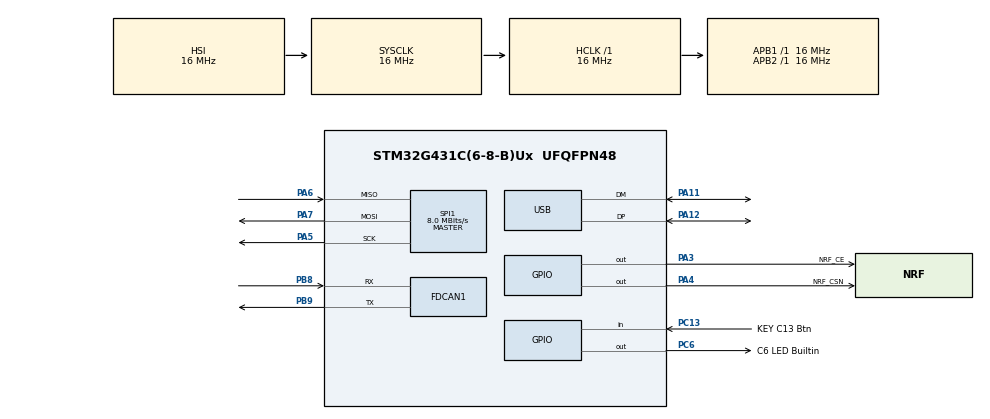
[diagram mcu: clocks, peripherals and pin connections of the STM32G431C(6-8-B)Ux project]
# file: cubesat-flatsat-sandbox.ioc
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ADC1.Channel-0\#ChannelRegularConversion=ADC_CHANNEL_TEMPSENSOR_ADC1
ADC1.NbrOfConversionFlag=1
ADC1.OffsetNumber-0\#ChannelRegularConversion=ADC_OFFSET_NONE
ADC1.Rank-0\#ChannelRegularConversion=1
ADC1.SamplingTime-0\#ChannelRegularConversion=ADC_SAMPLETIME_247CYCLES_5
ADC1.master=1
FDCAN1.AutoRetransmission=ENABLE
FDCAN1.CalculateBaudRateNominal=500000
FDCAN1.CalculateTimeBitNominal=2000
FDCAN1.CalculateTimeQuantumNominal=125.0
FDCAN1.NominalPrescaler=2
FDCAN1.NominalTimeSeg1=12
FDCAN1.NominalTimeSeg2=3
FDCAN1.StdFiltersNbr=1
FREERTOS.Tasks01=defaultTask,24,256,StartDefaultTask,Default,NULL,Dynamic,NULL,NULL
FREERTOS.configTOTAL_HEAP_SIZE=8192
Mcu.Family=STM32G4
Mcu.Name=STM32G431C(6-8-B)Ux
Mcu.Package=UFQFPN48
NVIC.FDCAN1_IT0_IRQn=true\:5\:0\:false\:false\:true\:true\:true\:true\:true
NVIC.PriorityGroup=NVIC_PRIORITYGROUP_4
NVIC.TIM6_DAC_IRQn=true\:15\:0\:false\:false\:true\:false\:false\:true\:true
NVIC.TimeBase=TIM6_DAC_IRQn
NVIC.TimeBaseIP=TIM6
NVIC.USB_LP_IRQn=true\:5\:0\:false\:false\:true\:true\:false\:true\:true
PA11.Mode=Device
PA11.Signal=USB_DM
PA12.Mode=Device
PA12.Signal=USB_DP
PA13.Mode=Serial_Wire
PA13.Signal=SYS_JTMS-SWDIO
PA14.Mode=Serial_Wire
PA14.Signal=SYS_JTCK-SWCLK
PA3.GPIO_Label=NRF_CE
PA3.GPIO_Speed=GPIO_SPEED_FREQ_HIGH
PA3.Signal=GPIO_Output
PA4.GPIO_Label=NRF_CSN
PA4.GPIO_Speed=GPIO_SPEED_FREQ_HIGH
PA4.PinState=GPIO_PIN_SET
PA4.Signal=GPIO_Output
PA5.Mode=Full_Duplex_Master
PA5.Signal=SPI1_SCK
PA6.Mode=Full_Duplex_Master
PA6.Signal=SPI1_MISO
PA7.Mode=Full_Duplex_Master
PA7.Signal=SPI1_MOSI
PB8-BOOT0.Mode=FDCAN_Activate
PB8-BOOT0.Signal=FDCAN1_RX
PB9.Mode=FDCAN_Activate
PB9.Signal=FDCAN1_TX
PC13.GPIO_Label=KEY C13 Btn
PC13.GPIO_PuPd=GPIO_PULLDOWN
PC13.Signal=GPIO_Input
PC14-OSC32_IN.Mode=LSE-External-Oscillator
PC14-OSC32_IN.Signal=RCC_OSC32_IN
PC15-OSC32_OUT.Mode=LSE-External-Oscillator
PC15-OSC32_OUT.Signal=RCC_OSC32_OUT
PC6.GPIO_Label=C6 LED Builtin
PC6.Signal=GPIO_Output
PF0-OSC_IN.Mode=HSE-External-Oscillator
PF0-OSC_IN.Signal=RCC_OSC_IN
PF1-OSC_OUT.Mode=HSE-External-Oscillator
PF1-OSC_OUT.Signal=RCC_OSC_OUT
ProjectManager.HeapSize=0x200
ProjectManager.StackSize=0x400
ProjectManager.TargetToolchain=CMake
RCC.AHBFreq_Value=16000000
RCC.APB1Freq_Value=16000000
RCC.APB1TimFreq_Value=16000000
RCC.APB2Freq_Value=16000000
RCC.APB2TimFreq_Value=16000000
RCC.CortexFreq_Value=16000000
RCC.EXTERNAL_CLOCK_VALUE=12288000
RCC.HCLKFreq_Value=16000000
RCC.HSE_VALUE=8000000
RCC.HSI48_VALUE=48000000
RCC.HSI_VALUE=16000000
RCC.PLLN=12
RCC.PLLQ=RCC_PLLQ_DIV4
RCC.SYSCLKFreq_VALUE=16000000
RCC.USBFreq_Value=48000000
RCC.VCOOutputFreq_Value=192000000
SPI1.CalculateBaudRate=8.0 MBits/s
SPI1.DataSize=SPI_DATASIZE_8BIT
SPI1.Direction=SPI_DIRECTION_2LINES
SPI1.Mode=SPI_MODE_MASTER
SPI1.VirtualType=VM_MASTER
USB_DEVICE.CLASS_NAME_FS=CDC
USB_DEVICE.VirtualMode=Cdc
USB_DEVICE.VirtualModeFS=Cdc_FS
VP_ADC1_TempSens_Input.Mode=IN-TempSens
VP_FREERTOS_VS_CMSIS_V2.Mode=CMSIS_V2
VP_SYS_VS_DBSignals.Mode=DisableDeadBatterySignals
VP_SYS_VS_tim6.Mode=TIM6
VP_USB_DEVICE_VS_USB_DEVICE_CDC_FS.Mode=CDC_FS
board=custom

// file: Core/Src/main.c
/* USER CODE BEGIN Header */
/**
  ******************************************************************************
  * @file           : main.c
  * @brief          : Main program body
  ******************************************************************************
  * @attention
  *
  * Copyright (c) 2026 STMicroelectronics.
  * All rights reserved.
  *
  * This software is licensed under terms that can be found in the LICENSE file
  * in the root directory of this software component.
  * If no LICENSE file comes with this software, it is provided AS-IS.
  *
  ******************************************************************************
  */
/* USER CODE END Header */
#include "main.h"
#include "cmsis_os.h"
#include "usb_device.h"

/* USER CODE BEGIN Includes */
#include "usbd_cdc_if.h"
#include "nrf24l01p.h"
#include <string.h>
#include <stdio.h>
/* USER CODE END Includes */

/* USER CODE BEGIN PD */

// CAN message IDs
#define CAN_ID_CDH_CMD         0x100  // Commands from CDH to EPS (button, etc.)
#define CAN_ID_CDH_STATUS_REQ  0x101  // CDH asks EPS for status
#define CAN_ID_EPS_CMD         0x200  // Commands from EPS to CDH (button, etc.)
#define CAN_ID_EPS_TELEM       0x201  // Telemetry from EPS (temperature, etc.)
#define CAN_ID_EPS_STATUS_RSP  0x202  // EPS responds with LED state

// Determine TX ID based on node type
#ifdef NODE_CDH
  #define CAN_TX_ID  CAN_ID_CDH_CMD
#endif

#ifdef NODE_EPS
  #define CAN_TX_ID  CAN_ID_EPS_CMD
#endif

// Sanity check
#if !defined(NODE_CDH) && !defined(NODE_EPS)
  #error "Define NODE_CDH or NODE_EPS in CMake"
#endif

// NRF24 settings (must match Raspberry Pi)
#define NRF_CHANNEL     2476  // RF channel in MHz (2400 + 76)
#define NRF_DATA_RATE   _2Mbps

// NRF24 payload message types (byte 0) - CDH to ground
#define NRF_MSG_BUTTON  0x01
#define NRF_MSG_TEMP    0x02

// Ground command types (byte 0) - ground to CDH
#define GND_CMD_TOGGLE_CDH_LED  0x01
#define GND_CMD_TOGGLE_EPS_LED  0x02
#define GND_CMD_STATUS_REQ      0x03

// CDH to ground response types
#define NRF_MSG_STATUS          0x03

// EPS alive timeout (ms)
#define EPS_ALIVE_TIMEOUT       5000

/* USER CODE END PD */

ADC_HandleTypeDef hadc1;

FDCAN_HandleTypeDef hfdcan1;

SPI_HandleTypeDef hspi1;

/* Definitions for defaultTask */
osThreadId_t defaultTaskHandle;
const osThreadAttr_t defaultTask_attributes = {
  .name = "defaultTask",
  .priority = (osPriority_t) osPriorityNormal,
  .stack_size = 256 * 4
};
/* USER CODE BEGIN PV */
FDCAN_RxHeaderTypeDef rxHeader;
uint8_t rxData[8];
uint8_t prev_button_state = 0;
volatile uint8_t can_rx_flag = 0;
volatile uint8_t can_rx_led_state = 0;
volatile uint8_t can_rx_telem_flag = 0;
volatile int16_t can_rx_temperature = 0;  // Temperature in tenths of °C
volatile uint8_t last_eps_led_cmd = 0;    // Last LED state sent to EPS
volatile uint32_t last_eps_can_tick = 0;  // Tick of last CAN message from EPS
#ifdef NODE_CDH
volatile uint8_t eps_status_flag = 0;     // EPS status response received
volatile uint8_t eps_status_led = 0;      // EPS LED state from status response
#endif
#ifdef NODE_EPS
volatile uint8_t eps_status_req_flag = 0; // CDH requested our status
#endif

// CAN task
osThreadId_t canTaskHandle;
const osThreadAttr_t canTask_attributes = {
  .name = "canTask",
  .priority = (osPriority_t) osPriorityAboveNormal,
  .stack_size = 256 * 4
};

#ifdef NODE_CDH
// NRF TX queue: CAN task -> Radio task
osMessageQueueId_t nrfTxQueueHandle;

// Radio task
osThreadId_t radioTaskHandle;
const osThreadAttr_t radioTask_attributes = {
  .name = "radioTask",
  .priority = (osPriority_t) osPriorityNormal,
  .stack_size = 256 * 4
};
#endif
/* USER CODE END PV */

void SystemClock_Config(void);
static void MX_GPIO_Init(void);
static void MX_FDCAN1_Init(void);
static void MX_ADC1_Init(void);
static void MX_SPI1_Init(void);
void StartDefaultTask(void *argument);

/* USER CODE BEGIN PFP */
void StartCanTask(void *argument);
#ifdef NODE_CDH
void StartRadioTask(void *argument);
#endif
/* USER CODE END PFP */

/* USER CODE BEGIN 0 */

static void can_tx_header_init(FDCAN_TxHeaderTypeDef *hdr, uint32_t id, uint32_t dlc)
{
  hdr->Identifier = id;
  hdr->IdType = FDCAN_STANDARD_ID;
  hdr->TxFrameType = FDCAN_DATA_FRAME;
  hdr->DataLength = dlc;
  hdr->ErrorStateIndicator = FDCAN_ESI_ACTIVE;
  hdr->BitRateSwitch = FDCAN_BRS_OFF;
  hdr->FDFormat = FDCAN_CLASSIC_CAN;
  hdr->TxEventFifoControl = FDCAN_NO_TX_EVENTS;
  hdr->MessageMarker = 0;
}

#ifdef NODE_CDH
// Send payload over NRF24, returns 1 on success, 0 on failure
static uint8_t nrf24_send_and_listen(uint8_t *payload)
{
  uint8_t success = 0;

  // Switch to TX mode
  nrf24l01p_power_down();
  nrf24l01p_ptx_mode();
  nrf24l01p_power_up();
  osDelay(2);  // 1.5ms power-up delay

  nrf24l01p_tx_transmit(payload);

  // Poll for TX_DS (success) or MAX_RT (failure)
  for (int i = 0; i < 10; i++)
  {
    osDelay(1);
    uint8_t status = nrf24l01p_get_status();
    if (status & 0x20)  // TX_DS: transmit succeeded
    {
      nrf24l01p_clear_tx_ds();
      success = 1;
      break;
    }
    if (status & 0x10)  // MAX_RT: max retransmits, no ACK
    {
      nrf24l01p_clear_max_rt();
      nrf24l01p_flush_tx_fifo();
      break;
    }
  }

  // Switch back to RX mode
  nrf24l01p_power_down();
  nrf24l01p_prx_mode();
  nrf24l01p_power_up();
  osDelay(2);

  return success;
}
#endif

/* USER CODE END 0 */

int main(void)
{

  /* MCU Configuration--------------------------------------------------------*/

  /* Reset of all peripherals, Initializes the Flash interface and the Systick. */
  HAL_Init();

  /* Configure the system clock */
  SystemClock_Config();

  /* Initialize all configured peripherals */
  MX_GPIO_Init();
  MX_FDCAN1_Init();
  MX_ADC1_Init();
  MX_SPI1_Init();
  /* USER CODE BEGIN 2 */

  // Calibrate ADC for accurate temperature readings
  HAL_ADCEx_Calibration_Start(&hadc1, ADC_SINGLE_ENDED);

  // Configure RX filter
  FDCAN_FilterTypeDef filterConfig;
  filterConfig.IdType = FDCAN_STANDARD_ID;
  filterConfig.FilterIndex = 0;
  filterConfig.FilterType = FDCAN_FILTER_MASK;
  filterConfig.FilterConfig = FDCAN_FILTER_TO_RXFIFO0;
#ifdef NODE_CDH
  // Accept 0x200-0x203 (mask 0x7FC ignores bits 0-1)
  filterConfig.FilterID1 = 0x200;
  filterConfig.FilterID2 = 0x7FC;
#endif
#ifdef NODE_EPS
  // Accept 0x100-0x101 (mask 0x7FE ignores bit 0)
  filterConfig.FilterID1 = 0x100;
  filterConfig.FilterID2 = 0x7FE;
#endif
  if (HAL_FDCAN_ConfigFilter(&hfdcan1, &filterConfig) != HAL_OK)
  {
    Error_Handler();
  }

  // Enable RX FIFO 0 new message interrupt
  if (HAL_FDCAN_ActivateNotification(&hfdcan1, FDCAN_IT_RX_FIFO0_NEW_MESSAGE, 0) != HAL_OK)
  {
    Error_Handler();
  }

  // Start FDCAN
  if (HAL_FDCAN_Start(&hfdcan1) != HAL_OK)
  {
    Error_Handler();
  }

  /* USER CODE END 2 */

  /* Init scheduler */
  osKernelInitialize();

  /* USER CODE BEGIN RTOS_QUEUES */
#ifdef NODE_CDH
  nrfTxQueueHandle = osMessageQueueNew(4, NRF24L01P_PAYLOAD_LENGTH, NULL);
#endif
  /* USER CODE END RTOS_QUEUES */

  /* Create the thread(s) */
  /* creation of defaultTask */
  defaultTaskHandle = osThreadNew(StartDefaultTask, NULL, &defaultTask_attributes);

  /* USER CODE BEGIN RTOS_THREADS */
  canTaskHandle = osThreadNew(StartCanTask, NULL, &canTask_attributes);
#ifdef NODE_CDH
  radioTaskHandle = osThreadNew(StartRadioTask, NULL, &radioTask_attributes);
#endif
  /* USER CODE END RTOS_THREADS */

  /* Start scheduler */
  osKernelStart();

  /* We should never get here as control is now taken by the scheduler */

  /* Infinite loop */
  while (1)
  {

  }
}

void SystemClock_Config(void)
{
  RCC_OscInitTypeDef RCC_OscInitStruct = {0};
  RCC_ClkInitTypeDef RCC_ClkInitStruct = {0};

  /** Configure the main internal regulator output voltage
  */
  HAL_PWREx_ControlVoltageScaling(PWR_REGULATOR_VOLTAGE_SCALE1);

  /** Initializes the RCC Oscillators according to the specified parameters
  * in the RCC_OscInitTypeDef structure.
  */
  RCC_OscInitStruct.OscillatorType = RCC_OSCILLATORTYPE_HSI;
  RCC_OscInitStruct.HSIState = RCC_HSI_ON;
  RCC_OscInitStruct.HSICalibrationValue = RCC_HSICALIBRATION_DEFAULT;
  RCC_OscInitStruct.PLL.PLLState = RCC_PLL_ON;
  RCC_OscInitStruct.PLL.PLLSource = RCC_PLLSOURCE_HSI;
  RCC_OscInitStruct.PLL.PLLM = RCC_PLLM_DIV1;
  RCC_OscInitStruct.PLL.PLLN = 12;
  RCC_OscInitStruct.PLL.PLLP = RCC_PLLP_DIV2;
  RCC_OscInitStruct.PLL.PLLQ = RCC_PLLQ_DIV4;
  RCC_OscInitStruct.PLL.PLLR = RCC_PLLR_DIV2;
  if (HAL_RCC_OscConfig(&RCC_OscInitStruct) != HAL_OK)
  {
    Error_Handler();
  }

  /** Initializes the CPU, AHB and APB buses clocks
  */
  RCC_ClkInitStruct.ClockType = RCC_CLOCKTYPE_HCLK|RCC_CLOCKTYPE_SYSCLK
                              |RCC_CLOCKTYPE_PCLK1|RCC_CLOCKTYPE_PCLK2;
  RCC_ClkInitStruct.SYSCLKSource = RCC_SYSCLKSOURCE_HSI;
  RCC_ClkInitStruct.AHBCLKDivider = RCC_SYSCLK_DIV1;
  RCC_ClkInitStruct.APB1CLKDivider = RCC_HCLK_DIV1;
  RCC_ClkInitStruct.APB2CLKDivider = RCC_HCLK_DIV1;

  if (HAL_RCC_ClockConfig(&RCC_ClkInitStruct, FLASH_LATENCY_0) != HAL_OK)
  {
    Error_Handler();
  }
}

static void MX_ADC1_Init(void)
{

  ADC_MultiModeTypeDef multimode = {0};
  ADC_ChannelConfTypeDef sConfig = {0};

  /** Common config
  */
  hadc1.Instance = ADC1;
  hadc1.Init.ClockPrescaler = ADC_CLOCK_SYNC_PCLK_DIV2;
  hadc1.Init.Resolution = ADC_RESOLUTION_12B;
  hadc1.Init.DataAlign = ADC_DATAALIGN_RIGHT;
  hadc1.Init.GainCompensation = 0;
  hadc1.Init.ScanConvMode = ADC_SCAN_DISABLE;
  hadc1.Init.EOCSelection = ADC_EOC_SINGLE_CONV;
  hadc1.Init.LowPowerAutoWait = DISABLE;
  hadc1.Init.ContinuousConvMode = DISABLE;
  hadc1.Init.NbrOfConversion = 1;
  hadc1.Init.DiscontinuousConvMode = DISABLE;
  hadc1.Init.ExternalTrigConv = ADC_SOFTWARE_START;
  hadc1.Init.ExternalTrigConvEdge = ADC_EXTERNALTRIGCONVEDGE_NONE;
  hadc1.Init.DMAContinuousRequests = DISABLE;
  hadc1.Init.Overrun = ADC_OVR_DATA_PRESERVED;
  hadc1.Init.OversamplingMode = DISABLE;
  if (HAL_ADC_Init(&hadc1) != HAL_OK)
  {
    Error_Handler();
  }

  /** Configure the ADC multi-mode
  */
  multimode.Mode = ADC_MODE_INDEPENDENT;
  if (HAL_ADCEx_MultiModeConfigChannel(&hadc1, &multimode) != HAL_OK)
  {
    Error_Handler();
  }

  /** Configure Regular Channel
  */
  sConfig.Channel = ADC_CHANNEL_TEMPSENSOR_ADC1;
  sConfig.Rank = ADC_REGULAR_RANK_1;
  sConfig.SamplingTime = ADC_SAMPLETIME_247CYCLES_5;
  sConfig.SingleDiff = ADC_SINGLE_ENDED;
  sConfig.OffsetNumber = ADC_OFFSET_NONE;
  sConfig.Offset = 0;
  if (HAL_ADC_ConfigChannel(&hadc1, &sConfig) != HAL_OK)
  {
    Error_Handler();
  }

}

static void MX_FDCAN1_Init(void)
{

  hfdcan1.Instance = FDCAN1;
  hfdcan1.Init.ClockDivider = FDCAN_CLOCK_DIV1;
  hfdcan1.Init.FrameFormat = FDCAN_FRAME_CLASSIC;
  hfdcan1.Init.Mode = FDCAN_MODE_NORMAL;
  hfdcan1.Init.AutoRetransmission = ENABLE;
  hfdcan1.Init.TransmitPause = DISABLE;
  hfdcan1.Init.ProtocolException = DISABLE;
  hfdcan1.Init.NominalPrescaler = 2;
  hfdcan1.Init.NominalSyncJumpWidth = 1;
  hfdcan1.Init.NominalTimeSeg1 = 12;
  hfdcan1.Init.NominalTimeSeg2 = 3;
  hfdcan1.Init.DataPrescaler = 1;
  hfdcan1.Init.DataSyncJumpWidth = 1;
  hfdcan1.Init.DataTimeSeg1 = 1;
  hfdcan1.Init.DataTimeSeg2 = 1;
  hfdcan1.Init.StdFiltersNbr = 1;
  hfdcan1.Init.ExtFiltersNbr = 0;
  hfdcan1.Init.TxFifoQueueMode = FDCAN_TX_FIFO_OPERATION;
  if (HAL_FDCAN_Init(&hfdcan1) != HAL_OK)
  {
    Error_Handler();
  }

}

static void MX_SPI1_Init(void)
{

  /* SPI1 parameter configuration*/
  hspi1.Instance = SPI1;
  hspi1.Init.Mode = SPI_MODE_MASTER;
  hspi1.Init.Direction = SPI_DIRECTION_2LINES;
  hspi1.Init.DataSize = SPI_DATASIZE_8BIT;
  hspi1.Init.CLKPolarity = SPI_POLARITY_LOW;
  hspi1.Init.CLKPhase = SPI_PHASE_1EDGE;
  hspi1.Init.NSS = SPI_NSS_SOFT;
  hspi1.Init.BaudRatePrescaler = SPI_BAUDRATEPRESCALER_2;
  hspi1.Init.FirstBit = SPI_FIRSTBIT_MSB;
  hspi1.Init.TIMode = SPI_TIMODE_DISABLE;
  hspi1.Init.CRCCalculation = SPI_CRCCALCULATION_DISABLE;
  hspi1.Init.CRCPolynomial = 7;
  hspi1.Init.CRCLength = SPI_CRC_LENGTH_DATASIZE;
  hspi1.Init.NSSPMode = SPI_NSS_PULSE_ENABLE;
  if (HAL_SPI_Init(&hspi1) != HAL_OK)
  {
    Error_Handler();
  }

}

static void MX_GPIO_Init(void)
{
  GPIO_InitTypeDef GPIO_InitStruct = {0};

  /* GPIO Ports Clock Enable */
  __HAL_RCC_GPIOC_CLK_ENABLE();
  __HAL_RCC_GPIOF_CLK_ENABLE();
  __HAL_RCC_GPIOA_CLK_ENABLE();
  __HAL_RCC_GPIOB_CLK_ENABLE();

  /*Configure GPIO pin Output Level */
  HAL_GPIO_WritePin(NRF_CE_GPIO_Port, NRF_CE_Pin, GPIO_PIN_RESET);

  /*Configure GPIO pin Output Level */
  HAL_GPIO_WritePin(NRF_CSN_GPIO_Port, NRF_CSN_Pin, GPIO_PIN_SET);

  /*Configure GPIO pin Output Level */
  HAL_GPIO_WritePin(C6_LED_Builtin_GPIO_Port, C6_LED_Builtin_Pin, GPIO_PIN_RESET);

  /*Configure GPIO pin : KEY_C13_Btn_Pin */
  GPIO_InitStruct.Pin = KEY_C13_Btn_Pin;
  GPIO_InitStruct.Mode = GPIO_MODE_INPUT;
  GPIO_InitStruct.Pull = GPIO_PULLDOWN;
  HAL_GPIO_Init(KEY_C13_Btn_GPIO_Port, &GPIO_InitStruct);

  /*Configure GPIO pins : NRF_CE_Pin NRF_CSN_Pin */
  GPIO_InitStruct.Pin = NRF_CE_Pin|NRF_CSN_Pin;
  GPIO_InitStruct.Mode = GPIO_MODE_OUTPUT_PP;
  GPIO_InitStruct.Pull = GPIO_NOPULL;
  GPIO_InitStruct.Speed = GPIO_SPEED_FREQ_HIGH;
  HAL_GPIO_Init(GPIOA, &GPIO_InitStruct);

  /*Configure GPIO pin : C6_LED_Builtin_Pin */
  GPIO_InitStruct.Pin = C6_LED_Builtin_Pin;
  GPIO_InitStruct.Mode = GPIO_MODE_OUTPUT_PP;
  GPIO_InitStruct.Pull = GPIO_NOPULL;
  GPIO_InitStruct.Speed = GPIO_SPEED_FREQ_LOW;
  HAL_GPIO_Init(C6_LED_Builtin_GPIO_Port, &GPIO_InitStruct);

}

/* USER CODE BEGIN 4 */

// FDCAN RX interrupt callback
void HAL_FDCAN_RxFifo0Callback(FDCAN_HandleTypeDef *hfdcan, uint32_t RxFifo0ITs)
{
  if (RxFifo0ITs & FDCAN_IT_RX_FIFO0_NEW_MESSAGE)
  {
    if (HAL_FDCAN_GetRxMessage(hfdcan, FDCAN_RX_FIFO0, &rxHeader, rxData) == HAL_OK)
    {
      uint32_t id = rxHeader.Identifier;

#ifdef NODE_CDH
      if (id == CAN_ID_EPS_CMD)
      {
        can_rx_led_state = rxData[0];
        can_rx_flag = 1;
        last_eps_can_tick = HAL_GetTick();
      }
      else if (id == CAN_ID_EPS_TELEM)
      {
        can_rx_temperature = (int16_t)(rxData[0] | (rxData[1] << 8));
        can_rx_telem_flag = 1;
        last_eps_can_tick = HAL_GetTick();
      }
      else if (id == CAN_ID_EPS_STATUS_RSP)
      {
        eps_status_led = rxData[0];
        eps_status_flag = 1;
        last_eps_can_tick = HAL_GetTick();
      }
#endif

#ifdef NODE_EPS
      if (id == CAN_ID_CDH_CMD)
      {
        can_rx_led_state = rxData[0];
        can_rx_flag = 1;
      }
      else if (id == CAN_ID_CDH_STATUS_REQ)
      {
        eps_status_req_flag = 1;
      }
#endif
    }
  }
}

void StartCanTask(void *argument)
{
#ifdef NODE_CDH
  char *node_name = "CDH";
#else
  char *node_name = "EPS";
#endif

  for(;;)
  {
    // Read button and send over CAN on change
    uint8_t current_button_state = HAL_GPIO_ReadPin(KEY_C13_Btn_GPIO_Port, KEY_C13_Btn_Pin);

    if (current_button_state != prev_button_state)
    {
      prev_button_state = current_button_state;

      FDCAN_TxHeaderTypeDef txHeader;
      can_tx_header_init(&txHeader, CAN_TX_ID, FDCAN_DLC_BYTES_1);

      uint8_t txData[1] = { current_button_state };
      HAL_FDCAN_AddMessageToTxFifoQ(&hfdcan1, &txHeader, txData);

#ifdef NODE_CDH
      last_eps_led_cmd = current_button_state;
#endif

      char msg[50];
      sprintf(msg, "[%s] CAN  INFO: TX Button: %d\r\n", node_name, current_button_state);
      CDC_Transmit_FS((uint8_t*)msg, strlen(msg));

#ifdef NODE_CDH
      // Queue button state for radio task
      uint8_t nrf_btn[NRF24L01P_PAYLOAD_LENGTH] = {0};
      nrf_btn[0] = NRF_MSG_BUTTON;
      nrf_btn[1] = current_button_state;
      osMessageQueuePut(nrfTxQueueHandle, nrf_btn, 0, 0);
#endif
    }

    // Handle received CAN messages
    if (can_rx_flag)
    {
      can_rx_flag = 0;
      HAL_GPIO_WritePin(C6_LED_Builtin_GPIO_Port, C6_LED_Builtin_Pin, can_rx_led_state ? GPIO_PIN_SET : GPIO_PIN_RESET);

      char msg[50];
      sprintf(msg, "[%s] CAN  INFO: RX LED: %d\r\n", node_name, can_rx_led_state);
      CDC_Transmit_FS((uint8_t*)msg, strlen(msg));
    }

#ifdef NODE_CDH
    // Cache EPS temperature (sent to ground via status response)
    if (can_rx_telem_flag)
    {
      can_rx_telem_flag = 0;

      char msg[60];
      sprintf(msg, "[CDH] CAN  INFO: EPS temp: %d.%d C\r\n",
              can_rx_temperature / 10,
              can_rx_temperature >= 0 ? can_rx_temperature % 10 : (-can_rx_temperature) % 10);
      CDC_Transmit_FS((uint8_t*)msg, strlen(msg));
    }
#endif

#ifdef NODE_EPS
    // Read internal temperature and send over CAN every 2 seconds
    {
      static uint32_t last_telem_tick = 0;
      uint32_t now = osKernelGetTickCount();
      if (now - last_telem_tick >= 2000)
      {
        last_telem_tick = now;

        HAL_ADC_Start(&hadc1);
        if (HAL_ADC_PollForConversion(&hadc1, 10) == HAL_OK)
        {
          uint32_t raw = HAL_ADC_GetValue(&hadc1);
          int16_t temp_x10 = (int16_t)(__HAL_ADC_CALC_TEMPERATURE(3300, raw, ADC_RESOLUTION_12B) * 10);

          FDCAN_TxHeaderTypeDef txHeader;
          can_tx_header_init(&txHeader, CAN_ID_EPS_TELEM, FDCAN_DLC_BYTES_2);

          uint8_t txData[2] = { (uint8_t)(temp_x10 & 0xFF), (uint8_t)((temp_x10 >> 8) & 0xFF) };
          HAL_FDCAN_AddMessageToTxFifoQ(&hfdcan1, &txHeader, txData);

          char msg[50];
          sprintf(msg, "[EPS] CAN  INFO: Temp: %d.%d C\r\n", temp_x10 / 10,
                  temp_x10 >= 0 ? temp_x10 % 10 : (-temp_x10) % 10);
          CDC_Transmit_FS((uint8_t*)msg, strlen(msg));
        }
        HAL_ADC_Stop(&hadc1);
      }
    }

    // Respond to CDH status request with current LED state
    if (eps_status_req_flag)
    {
      eps_status_req_flag = 0;

      uint8_t led_state = HAL_GPIO_ReadPin(C6_LED_Builtin_GPIO_Port, C6_LED_Builtin_Pin);

      FDCAN_TxHeaderTypeDef txHeader;
      can_tx_header_init(&txHeader, CAN_ID_EPS_STATUS_RSP, FDCAN_DLC_BYTES_1);

      uint8_t txData[1] = { led_state };
      HAL_FDCAN_AddMessageToTxFifoQ(&hfdcan1, &txHeader, txData);

      char msg[50];
      sprintf(msg, "[EPS] CAN  INFO: Status RSP LED: %d\r\n", led_state);
      CDC_Transmit_FS((uint8_t*)msg, strlen(msg));
    }
#endif

    osDelay(10);
  }
}

#ifdef NODE_CDH
void StartRadioTask(void *argument)
{
  // Initialize NRF24 in RX mode (listening for ground station)
  nrf24l01p_rx_init(NRF_CHANNEL, NRF_DATA_RATE);

  for(;;)
  {
    // Check for outbound payloads from CAN task
    uint8_t nrf_payload[NRF24L01P_PAYLOAD_LENGTH];
    if (osMessageQueueGet(nrfTxQueueHandle, nrf_payload, NULL, 10) == osOK)
    {
      if (nrf24_send_and_listen(nrf_payload))
      {
        const char *ok = "[CDH] RF   INFO: TX OK\r\n";
        CDC_Transmit_FS((uint8_t*)ok, strlen(ok));
      }
      else
      {
        const char *err = "[CDH] RF   WARN: TX failed (no ACK)\r\n";
        CDC_Transmit_FS((uint8_t*)err, strlen(err));
      }
    }

    // Drain all packets from NRF24 RX FIFO
    while (!(nrf24l01p_get_fifo_status() & 0x01))  // bit 0 = RX_EMPTY
    {
      uint8_t nrf_rx[NRF24L01P_PAYLOAD_LENGTH] = {0};
      nrf24l01p_rx_receive(nrf_rx);

      char msg[80];
      sprintf(msg, "[CDH] RF   INFO: GND RX: %02X %02X %02X %02X %02X %02X %02X %02X\r\n",
              nrf_rx[0], nrf_rx[1], nrf_rx[2], nrf_rx[3],
              nrf_rx[4], nrf_rx[5], nrf_rx[6], nrf_rx[7]);
      CDC_Transmit_FS((uint8_t*)msg, strlen(msg));

      if (nrf_rx[0] == GND_CMD_TOGGLE_CDH_LED)
      {
        HAL_GPIO_TogglePin(C6_LED_Builtin_GPIO_Port, C6_LED_Builtin_Pin);
        uint8_t state = HAL_GPIO_ReadPin(C6_LED_Builtin_GPIO_Port, C6_LED_Builtin_Pin);
        sprintf(msg, "[CDH] RF   INFO: CDH LED toggled: %d\r\n", state);
        CDC_Transmit_FS((uint8_t*)msg, strlen(msg));
      }
      else if (nrf_rx[0] == GND_CMD_TOGGLE_EPS_LED)
      {
        last_eps_led_cmd ^= 1;

        FDCAN_TxHeaderTypeDef txHeader;
        can_tx_header_init(&txHeader, CAN_ID_CDH_CMD, FDCAN_DLC_BYTES_1);

        uint8_t txData[1] = { last_eps_led_cmd };
        HAL_FDCAN_AddMessageToTxFifoQ(&hfdcan1, &txHeader, txData);

        sprintf(msg, "[CDH] RF   INFO: EPS LED toggled: %d\r\n", last_eps_led_cmd);
        CDC_Transmit_FS((uint8_t*)msg, strlen(msg));
      }
      else if (nrf_rx[0] == GND_CMD_STATUS_REQ)
      {
        // Ask EPS for its actual LED state via CAN
        eps_status_flag = 0;
        {
          FDCAN_TxHeaderTypeDef txHeader;
          can_tx_header_init(&txHeader, CAN_ID_CDH_STATUS_REQ, FDCAN_DLC_BYTES_0);
          HAL_FDCAN_AddMessageToTxFifoQ(&hfdcan1, &txHeader, NULL);
        }

        // Wait up to 50ms for EPS response
        uint8_t eps_led = 0xFF;  // 0xFF = unknown / CAN down
        uint8_t eps_alive = 0;
        for (int i = 0; i < 50; i++)
        {
          if (eps_status_flag)
          {
            eps_led = eps_status_led;
            eps_alive = 1;
            break;
          }
          osDelay(1);
        }

        uint8_t cdh_led = HAL_GPIO_ReadPin(C6_LED_Builtin_GPIO_Port, C6_LED_Builtin_Pin);

        uint8_t resp[NRF24L01P_PAYLOAD_LENGTH] = {0};
        resp[0] = NRF_MSG_STATUS;
        resp[1] = cdh_led;
        resp[2] = eps_led;
        resp[3] = (uint8_t)(can_rx_temperature & 0xFF);
        resp[4] = (uint8_t)((can_rx_temperature >> 8) & 0xFF);
        resp[5] = eps_alive;

        nrf24_send_and_listen(resp);

        sprintf(msg, "[CDH] RF   INFO: Status sent (EPS: %s)\r\n",
                eps_alive ? "alive" : "CAN down");
        CDC_Transmit_FS((uint8_t*)msg, strlen(msg));
      }
    }
  }
}
#endif

/* USER CODE END 4 */

void StartDefaultTask(void *argument)
{
  /* init code for USB_Device */
  MX_USB_Device_Init();
  /* USER CODE BEGIN 5 */

#ifdef NODE_CDH
  char *node_name = "CDH";
#else
  char *node_name = "EPS";
#endif

  // Startup message
  char boot_msg[40];
  sprintf(boot_msg, "[%s] SYS  INFO: node booted\r\n", node_name);
  osDelay(500);  // Let USB enumerate
  CDC_Transmit_FS((uint8_t*)boot_msg, strlen(boot_msg));

  // USB init done, nothing left for this task
  osThreadSuspend(NULL);

  /* Infinite loop */
  for(;;)
  {
    osDelay(1000);
  }
  /* USER CODE END 5 */
}

void HAL_TIM_PeriodElapsedCallback(TIM_HandleTypeDef *htim)
{
  if (htim->Instance == TIM6)
  {
    HAL_IncTick();
  }
}

void Error_Handler(void)
{
  __disable_irq();
  while (1)
  {
  }
}
